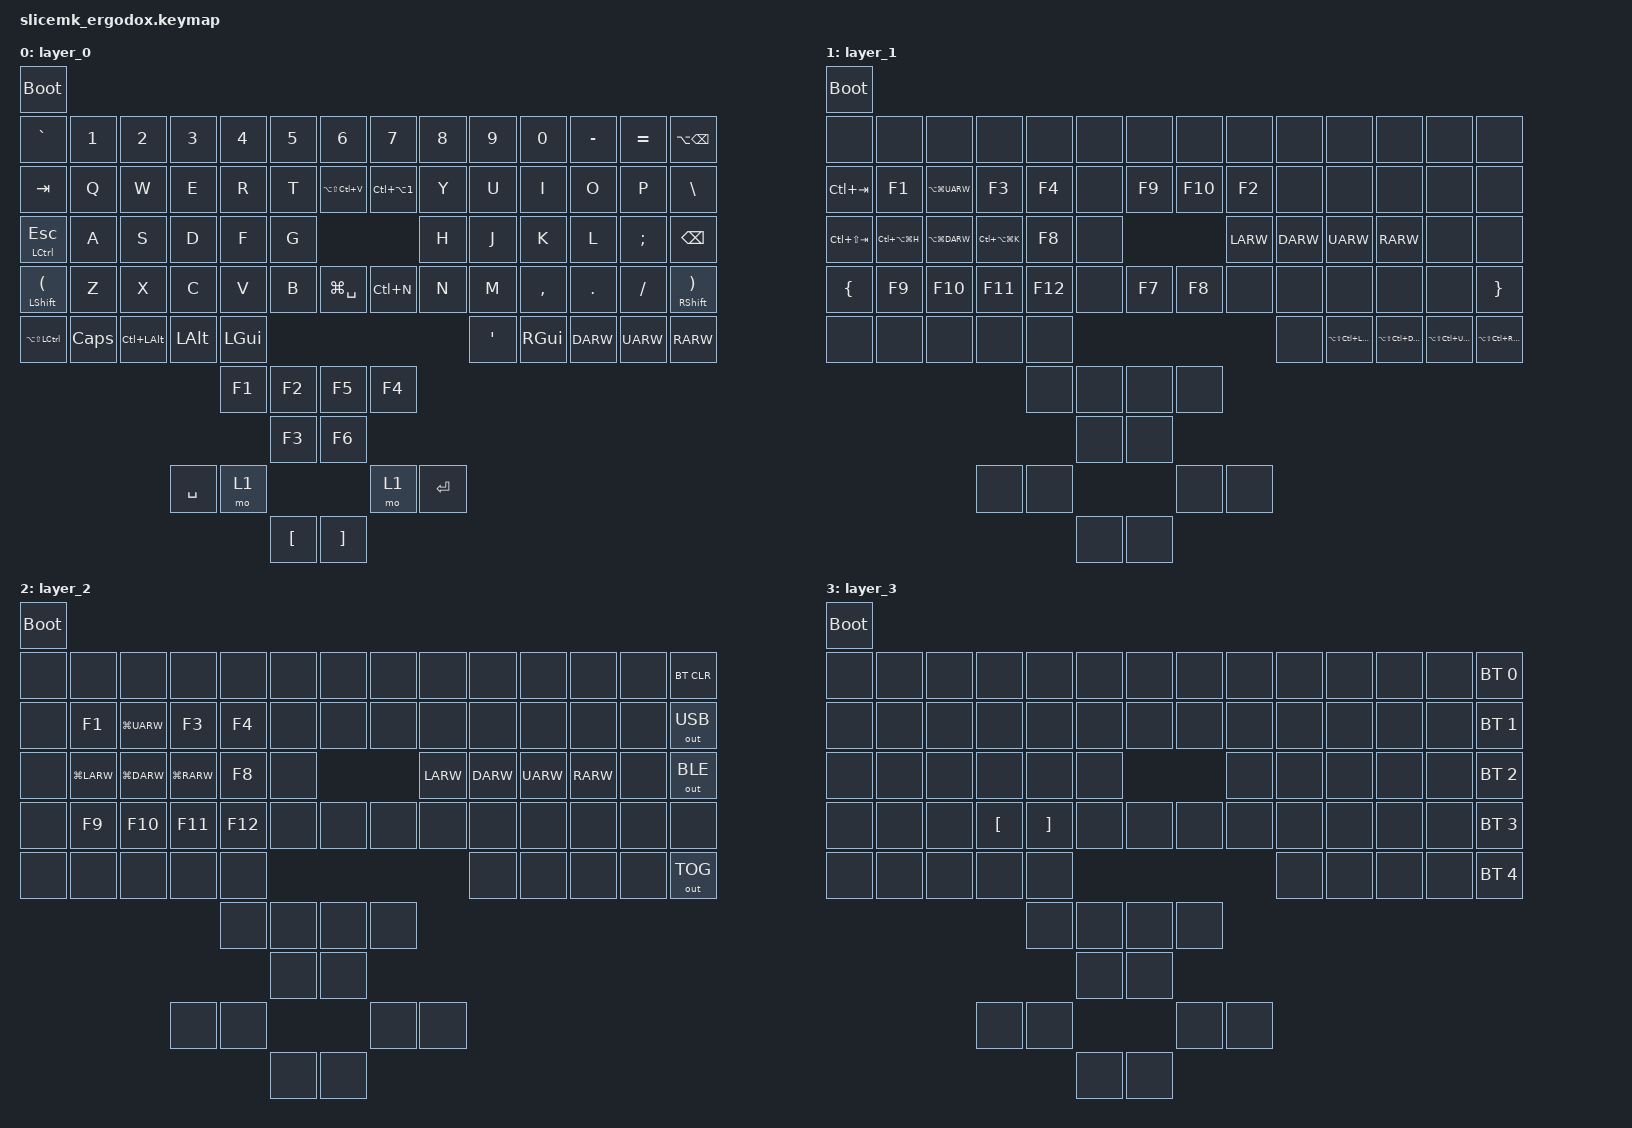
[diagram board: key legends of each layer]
#include <behaviors.dtsi>
#include <dt-bindings/zmk/bt.h>
#include <dt-bindings/zmk/keys.h>
#include <dt-bindings/zmk/outputs.h>

/ {
    keymap {
        compatible = "zmk,keymap";

        layer_0 {
                bindings = <
    &bootloader
    &kp GRAV            &kp NUM_1    &kp NUM_2          &kp NUM_3  &kp NUM_4  &kp NUM_5   &kp NUM_6   &kp NUM_7   &kp NUM_8  &kp NUM_9  &kp NUM_0  &kp MINUS  &kp EQUAL      &kp LA(BKSP)
    &kp TAB             &kp Q        &kp W              &kp E      &kp R      &kp T       &kp LA(LS(LC(V)))     &kp LC(LA(1))     &kp Y      &kp U      &kp I      &kp O      &kp P          &kp BSLH
    &mt LCTL ESC        &kp A        &kp S              &kp D      &kp F      &kp G                                 &kp H      &kp J      &kp K      &kp L      &kp SCLN       &kp BKSP
    &mt LSHFT LPAR      &kp Z        &kp X              &kp C      &kp V      &kp B       &kp LG(SPC)    &kp LC(N)    &kp N      &kp M      &kp CMMA   &kp DOT    &kp FSLH       &mt RSHFT RPAR
    &kp LA(LS(LCTRL))   &kp CAPS     &kp LC(LALT)       &kp LALT   &kp LGUI                                                   &kp SQT    &kp RGUI   &kp DARW   &kp UARW       &kp RARW
                                                                              &kp F1 &kp F2     &kp F5      &kp F4
                                                                                          &kp F3     &kp F6
                                                              &kp SPC    &mo 1                         &mo 1        &kp RET
                                                                                &kp LBKT      &kp RBKT
                        >;
                };

                layer_1 {
                        bindings = <
    &bootloader
    &none      	     &none            &none           &none            &none      &none      &none      &none      &none      &none      &none      &none      &none      &none
    &kp LC(TAB)      &kp F1           &kp LA(LG(UARW))    &kp F3       &kp F4     &none      &kp F9      &kp F10      &kp F2      &none      &none      &none      &none      &none
    &kp LC(LS(TAB))  &kp LC(LA(LG(H))) &kp LA(LG(DARW))    &kp  LC(LA(LG(K)))    &kp F8     &none                  &kp LARW   &kp DARW   &kp UARW   &kp RARW   &none      &none
    &kp LBRC         &kp F9           &kp F10         &kp F11          &kp F12    &none      &kp F7      &kp F8      &none      &none      &none      &none      &none      &kp RBRC
    &none      	&none   &none   &none   &none                                                  &none      &kp LA(LS(LC(LARW)))   &kp LA(LS(LC(DARW)))   &kp LA(LS(LC(UARW)))   &kp LA(LS(LC(RARW)))
                                                                 &none      &none      &none      &none
                                                                            &none      &none
                                                &none            &none                            &none      &none
                                                                            &none      &none
                        >;
                };

                layer_2 {
                        bindings = <
    &bootloader
    &none      &none            &none           &none            &none      &none      &none      &none      &none      &none      &none      &none      &none      &bt BT_CLR
    &none      &kp F1           &kp LG(UARW)    &kp F3           &kp F4     &none      &none      &none      &none      &none      &none      &none      &none      &out OUT_USB
    &none      &kp LG(LARW)     &kp LG(DARW)    &kp LG(RARW)     &kp F8     &none                            &kp LARW   &kp DARW   &kp UARW   &kp RARW   &none      &out OUT_BLE
    &none      &kp F9           &kp F10         &kp F11          &kp F12    &none      &none      &none      &none      &none      &none      &none      &none      &none
    &none      &none            &none           &none            &none                                                  &none      &none      &none      &none      &out OUT_TOG
                                                                 &none      &none      &none      &none
                                                                            &none      &none
                                                &none            &none                            &none      &none
                                                                            &none      &none
                        >;
                };

                layer_3 {
                        bindings = <
    &bootloader
    &none      &none      &none      &none      &none      &none      &none      &none      &none      &none      &none      &none      &none      &bt BT_SEL 0
    &none      &none      &none      &none      &none      &none      &none      &none      &none      &none      &none      &none      &none      &bt BT_SEL 1
    &none      &none      &none      &none      &none      &none                            &none      &none      &none      &none      &none      &bt BT_SEL 2
    &none      &none      &none      &kp LBKT   &kp RBKT   &none      &none      &none      &none      &none      &none      &none      &none      &bt BT_SEL 3
    &none      &none      &none      &none      &none                                                  &none      &none      &none      &none      &bt BT_SEL 4
                                                           &none      &none      &none      &none
                                                                      &none      &none
                                                &none      &none                            &none      &none
                                                                      &none      &none
                        >;
                };

        };
};
